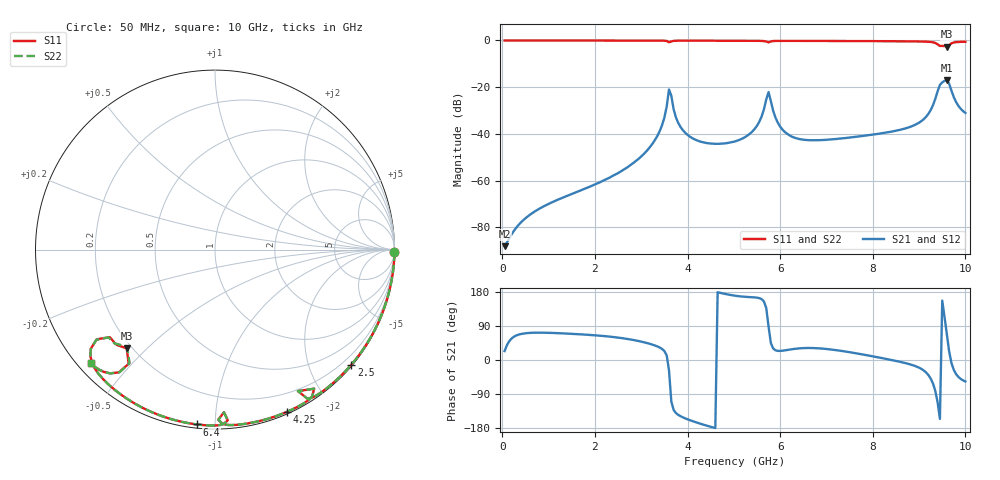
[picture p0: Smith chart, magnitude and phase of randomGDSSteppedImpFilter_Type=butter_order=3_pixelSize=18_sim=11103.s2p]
! freq	dB(S11)	phase(S11)	dB(S12)	phase(S12)
!  dB(S21)	phase(S21)	dB(S22)	phase(S22)
!S-par simulation data
#  GHz  S  DB  R 50
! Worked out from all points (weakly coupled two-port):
!   200 points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, 50 MHz to 10 GHz, reference 50 ohm
!   highest |S21| = -16.92 dB at 9.6 GHz (marker M1); lowest = -88.1 dB at 50 MHz (marker M2)
!   lowest |S11| = -2.6 dB at 9.6 GHz (marker M3), VSWR 6.64, Z = 9 - j21.8 ohm
!   |S11| at or under -10 dB: nowhere
!   |S22| runs from -2.7 to 0.0 dB; largest |S21 - S12| = 0
!   S11 on the Smith chart (normalised r, x): 50 MHz: open; 2.5 GHz: 0.03, -2.74; 4.25 GHz: 0.02, -1.54; 6.4 GHz: 0.02, -0.90; 10 GHz: 0.04, -0.39
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0.05  -0.00 -0.8  -88.07 23.6  -88.07 23.6  -0.00 -0.8
0.3  -0.00 -4.9  -80.20 64.6  -80.20 64.6  -0.00 -4.9
1.75  -0.04 -28.3  -63.71 67.3  -63.71 67.3  -0.04 -28.3
2.5  -0.05 -40.2  -56.80 59.2  -56.80 59.2  -0.05 -40.2
3.05  -0.06 -48.8  -48.72 47.1  -48.72 47.1  -0.06 -48.8
3.4  -0.08 -54.5  -38.77 32.8  -38.77 32.8  -0.08 -54.5
3.5  -0.12 -56.6  -33.03 23.5  -33.03 23.5  -0.12 -56.6
3.6  -0.78 -59.6  -20.99 -27.4  -20.99 -27.4  -0.79 -59.6
3.85  -0.10 -59.8  -37.09 -148.5  -37.09 -148.5  -0.10 -59.8
4.25  -0.10 -66.1  -43.12 -167.1  -43.12 -167.1  -0.10 -66.1
5.05  -0.12 -77.8  -43.06 169.2  -43.06 169.2  -0.12 -77.8
5.5  -0.16 -84.6  -36.51 164.5  -36.51 164.5  -0.16 -84.6
5.75  -0.84 -86.8  -22.08 87.8  -22.08 87.8  -0.83 -86.8
6  -0.18 -89.9  -36.87 23.9  -36.87 23.9  -0.18 -90.0
6.4  -0.18 -95.8  -42.14 30.5  -42.14 30.5  -0.18 -95.8
6.7  -0.20 -99.9  -42.73 31.6  -42.73 31.6  -0.20 -99.9
8.35  -0.32 -121.9  -39.22 1.4  -39.22 1.4  -0.32 -121.9
9.1  -0.47 -133.7  -33.71 -27.6  -33.71 -27.6  -0.47 -133.7
9.5  -2.34 -136.4  -17.94 156.9  -17.94 156.9  -2.32 -137.0
9.6  -2.64 -131.8  -16.92 66.9  -16.92 66.9  -2.72 -132.1
9.8  -0.71 -132.3  -26.40 -37.4  -26.40 -37.4  -0.72 -132.2
10  -0.56 -137.5  -31.02 -56.7  -31.02 -56.7  -0.56 -137.4
